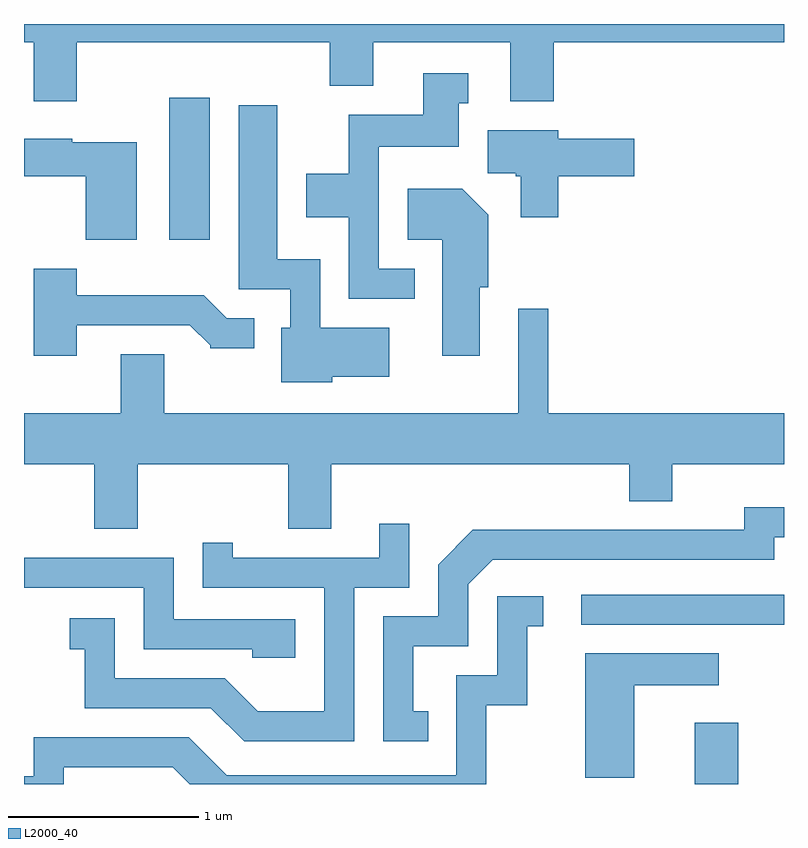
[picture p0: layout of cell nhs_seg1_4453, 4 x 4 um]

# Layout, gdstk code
import gdstk
lib = gdstk.Library(unit=1e-6, precision=1e-09)
def R(c, l, rs):  # rectangles x0, y0, x1, y1
    for r in rs: c.add(gdstk.rectangle(r[:2], r[2:], *l))
def P(c, l, *ps):  # polygons
    for p in ps: c.add(gdstk.Polygon(p, *l))
L2000_40 = (2000, 40)

nhs_seg1_4453 = lib.new_cell('nhs_seg1_4453')
R(nhs_seg1_4453, L2000_40, [(323.141,855.712,323.369,856.034), (322.543,856.551,323.611,856.709), (320.376,858.576,320.589,859.324)])
P(nhs_seg1_4453, L2000_40, [(319.889,859.616),(321.221,859.616),(321.221,859.386),(321.449,859.386),(321.449,859.616),(322.171,859.616),(322.171,859.306),(322.399,859.306),(322.399,859.616),(323.611,859.616),(323.611,859.712),(319.611,859.712),(319.611,859.616),(319.661,859.616),(319.661,859.306),(319.889,859.306)],
  [(321.668,858.424),(321.479,858.424),(321.479,859.066),(321.899,859.066),(321.899,859.296),(321.948,859.296),(321.948,859.454),(321.711,859.454),(321.711,859.234),(321.321,859.234),(321.321,858.924),(321.096,858.924),(321.096,858.696),(321.321,858.696),(321.321,858.266),(321.668,858.266)],
  [(321.234,857.856),(321.534,857.856),(321.534,858.114),(321.169,858.114),(321.169,858.474),(320.944,858.474),(320.944,859.284),(320.741,859.284),(320.741,858.316),(321.011,858.316),(321.011,858.114),(320.966,858.114),(320.966,857.826),(321.234,857.826)],
  [(322.424,858.911),(322.824,858.911),(322.824,859.109),(322.424,859.109),(322.424,859.154),(322.051,859.154),(322.051,858.926),(322.2,858.926),(322.2,858.911),(322.226,858.911),(322.226,858.696),(322.424,858.696)],
  [(320.204,859.089),(319.864,859.089),(319.864,859.109),(319.611,859.109),(319.611,858.911),(319.936,858.911),(319.936,858.576),(320.204,858.576)],
  [(322.009,858.326),(322.054,858.326),(322.054,858.707),(321.917,858.844),(321.631,858.844),(321.631,858.576),(321.811,858.576),(321.811,857.966),(322.009,857.966)],
  [(319.889,858.126),(320.484,858.126),(320.59,858.02),(320.59,858.006),(320.823,858.006),(320.823,858.164),(320.677,858.164),(320.557,858.284),(319.889,858.284),(319.889,858.424),(319.661,858.424),(319.661,857.966),(319.889,857.966)],
  [(320.209,857.396),(321.001,857.396),(321.001,857.056),(321.229,857.056),(321.229,857.396),(322.796,857.396),(322.796,857.201),(323.024,857.201),(323.024,857.396),(323.611,857.396),(323.611,857.664),(322.369,857.664),(322.369,858.213),(322.211,858.213),(322.211,857.664),(320.349,857.664),(320.349,857.974),(320.121,857.974),(320.121,857.664),(319.611,857.664),(319.611,857.396),(319.981,857.396),(319.981,857.056),(320.209,857.056)],
  [(321.738,856.094),(321.659,856.094),(321.659,856.436),(321.949,856.436),(321.949,856.764),(322.077,856.891),(323.559,856.891),(323.559,857.011),(323.611,857.011),(323.611,857.169),(323.401,857.169),(323.401,857.049),(321.974,857.049),(321.791,856.867),(321.791,856.594),(321.501,856.594),(321.501,855.936),(321.738,855.936)],
  [(321.349,856.746),(321.639,856.746),(321.639,857.083),(321.481,857.083),(321.481,856.904),(320.709,856.904),(320.709,856.983),(320.551,856.983),(320.551,856.746),(321.191,856.746),(321.191,856.094),(320.842,856.094),(320.667,856.269),(320.089,856.269),(320.089,856.584),(319.853,856.584),(319.853,856.421),(319.931,856.421),(319.931,856.111),(320.594,856.111),(320.769,855.936),(321.349,855.936)],
  [(321.039,856.579),(320.399,856.579),(320.399,856.904),(319.611,856.904),(319.611,856.746),(320.241,856.746),(320.241,856.421),(320.811,856.421),(320.811,856.376),(321.039,856.376)],
  [(319.819,855.801),(320.394,855.801),(320.483,855.712),(322.044,855.712),(322.044,856.126),(322.259,856.126),(322.259,856.541),(322.343,856.541),(322.343,856.699),(322.101,856.699),(322.101,856.284),(321.886,856.284),(321.886,855.759),(320.677,855.759),(320.477,855.959),(319.661,855.959),(319.661,855.754),(319.611,855.754),(319.611,855.712),(319.819,855.712)],
  [(322.824,856.231),(323.268,856.231),(323.268,856.399),(322.566,856.399),(322.566,855.746),(322.824,855.746)])

lib.write_gds('nhs_seg1_4453.gds')
